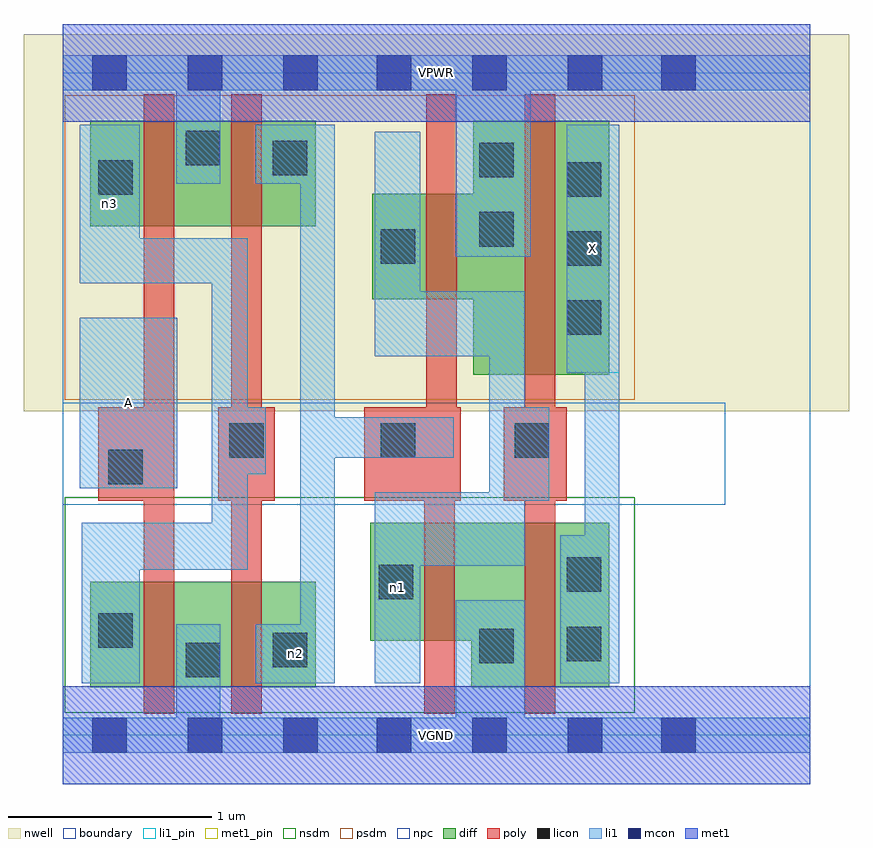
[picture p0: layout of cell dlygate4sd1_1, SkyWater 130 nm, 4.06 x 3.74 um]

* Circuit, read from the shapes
.subckt dlygate4sd1_1 A VGND VPWR X n1 n2 n3
XM1 VGND A n3 VSUBS sky130_fd_pr__nfet_01v8 w=0.52 l=0.15
XM2 n2 n3 VGND VSUBS sky130_fd_pr__nfet_01v8 w=0.52 l=0.15
XM3 VGND n2 n1 VSUBS sky130_fd_pr__nfet_01v8 w=0.58 l=0.15
XM4 X n1 VGND VSUBS sky130_fd_pr__nfet_01v8 w=0.81 l=0.15
XM5 VPWR A n3 n4 sky130_fd_pr__pfet_01v8 w=0.52 l=0.15
XM6 n2 n3 VPWR n4 sky130_fd_pr__pfet_01v8 w=0.52 l=0.15
XM7 VPWR n2 n1 n4 sky130_fd_pr__pfet_01v8 w=0.52 l=0.15
XM8 X n1 VPWR n4 sky130_fd_pr__pfet_01v8 w=1.25 l=0.15
.ends

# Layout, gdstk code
import gdstk
lib = gdstk.Library(unit=1e-6, precision=1e-09)
def R(c, l, rs):  # rectangles x0, y0, x1, y1
    for r in rs: c.add(gdstk.rectangle(r[:2], r[2:], *l))
def A(c, l, x, y, w, h, nx, ny, dx, dy):  # array of equal rectangles
    R(c, l, [(x+i*dx, y+j*dy, x+i*dx+w, y+j*dy+h) for i in range(nx) for j in range(ny)])
nwell = (64, 20)
diff = (65, 20)
poly = (66, 20)
licon = (66, 44)
li1_pin = (67, 16)
li1 = (67, 20)
mcon = (67, 44)
met1_pin = (68, 16)
met1 = (68, 20)
nsdm = (93, 44)
psdm = (94, 20)
npc = (95, 20)
boundary = (235, 4)

dlygate4sd1_1 = lib.new_cell('dlygate4sd1_1')
R(dlygate4sd1_1, nwell, [(-0.19,1.595,3.87,3.45), (0,1.595,3.68,3.45)])
R(dlygate4sd1_1, diff, [(0.135,0.235,1.245,0.755), (2.01,0.235,2.69,1.045), (1.515,0.465,2.69,1.045), (2.02,1.775,2.69,3.025), (1.525,2.145,2.69,2.665), (0.135,2.505,1.245,3.025)])
R(dlygate4sd1_1, poly, [(0.4,0.105,0.55,3.155), (0.83,0.105,0.98,3.155), (1.78,0.105,1.93,1.615), (2.275,0.105,2.425,3.155), (0.175,1.155,0.55,1.615), (0.765,1.155,1.045,1.615), (1.485,1.155,1.96,1.615), (1.79,1.155,1.94,3.155), (2.17,1.155,2.48,1.615)])
A(dlygate4sd1_1, licon, 2.48, 1.97, 0.17, 0.17, 1, 3, 0, 0.34)
R(dlygate4sd1_1, licon, [(0.605,0.285,0.775,0.455), (1.035,0.335,1.205,0.505), (2.05,0.355,2.22,0.525), (2.48,0.365,2.65,0.535), (0.175,0.43,0.345,0.6), (1.555,0.67,1.725,0.84), (2.48,0.705,2.65,0.875), (0.225,1.235,0.395,1.405), (0.82,1.365,0.99,1.535), (1.565,1.365,1.735,1.535), (2.225,1.365,2.395,1.535), (1.565,2.32,1.735,2.49), (2.05,2.405,2.22,2.575), (0.175,2.66,0.345,2.83), (2.05,2.745,2.22,2.915), (1.035,2.755,1.205,2.925), (0.605,2.805,0.775,2.975)])
R(dlygate4sd1_1, li1_pin, [(0.085,1.215,0.565,2.055), (2.48,1.785,2.74,3.005)])
R(dlygate4sd1_1, li1, [(0,-0.085,3.68,0.085), (0.56,-0.085,0.775,0.545), (1.935,-0.085,2.275,0.665), (0.095,0.255,0.38,1.045), (0.95,0.255,1.34,0.545), (1.17,0.255,1.34,3.005), (1.535,0.255,1.76,1.195), (2.45,0.255,2.74,0.985), (2.57,0.255,2.74,3.005), (0.095,0.815,0.91,1.045), (0.735,0.815,0.91,2.445), (1.535,0.835,2.275,1.195), (2.1,0.835,2.275,2.185), (2.1,1.155,2.395,1.615), (0.085,1.215,0.565,2.055), (0.735,1.285,1,1.615), (1.17,1.365,1.925,1.565), (2.48,1.785,2.74,3.005), (1.535,1.865,1.76,2.97), (1.535,1.865,2.275,2.185), (0.085,2.225,0.38,3.005), (0.085,2.225,0.91,2.445), (1.935,2.355,2.305,3.345), (0.56,2.715,0.775,3.345), (0.95,2.715,1.34,3.005), (0,3.175,3.68,3.345)])
A(dlygate4sd1_1, mcon, 0.145, -0.085, 0.17, 0.17, 3, 2, 0.47, 3.26)
A(dlygate4sd1_1, mcon, 1.545, -0.085, 0.17, 0.17, 3, 2, 0.47, 3.26)
R(dlygate4sd1_1, mcon, [(2.945,-0.085,3.115,0.085), (2.945,3.175,3.115,3.345)])
R(dlygate4sd1_1, met1_pin, [(0,-0.24,3.68,0.24), (0,3.02,3.68,3.5)])
R(dlygate4sd1_1, met1, [(0,-0.24,3.68,0.24), (0,3.02,3.68,3.5)])
R(dlygate4sd1_1, nsdm, [(0.01,0.11,2.815,1.17)])
R(dlygate4sd1_1, psdm, [(0.01,1.65,2.815,3.15)])
R(dlygate4sd1_1, npc, [(0,1.135,3.26,1.635)])
R(dlygate4sd1_1, boundary, [(0,0,3.68,3.26)])
dlygate4sd1_1.add(gdstk.Label('A', (0.325,1.635), layer=67, texttype=5))
dlygate4sd1_1.add(gdstk.Label('X', (2.61,2.395), layer=67, texttype=5))
dlygate4sd1_1.add(gdstk.Label('n1', (1.647,0.725), layer=67, texttype=5))
dlygate4sd1_1.add(gdstk.Label('n3', (0.232,2.615), layer=67, texttype=5))
dlygate4sd1_1.add(gdstk.Label('n2', (1.145,0.4), layer=67, texttype=5))
dlygate4sd1_1.add(gdstk.Label('VPWR', (1.84,3.26), layer=68, texttype=5))
dlygate4sd1_1.add(gdstk.Label('VGND', (1.84,0), layer=68, texttype=5))
dlygate4sd1_1.add(gdstk.Label('A', (0.325,1.635), layer=67, texttype=16))
dlygate4sd1_1.add(gdstk.Label('X', (2.61,2.395), layer=67, texttype=16))
dlygate4sd1_1.add(gdstk.Label('VPWR', (1.84,3.26), layer=68, texttype=16))
dlygate4sd1_1.add(gdstk.Label('VGND', (1.84,0), layer=68, texttype=16))

lib.write_gds('dlygate4sd1_1.gds')
